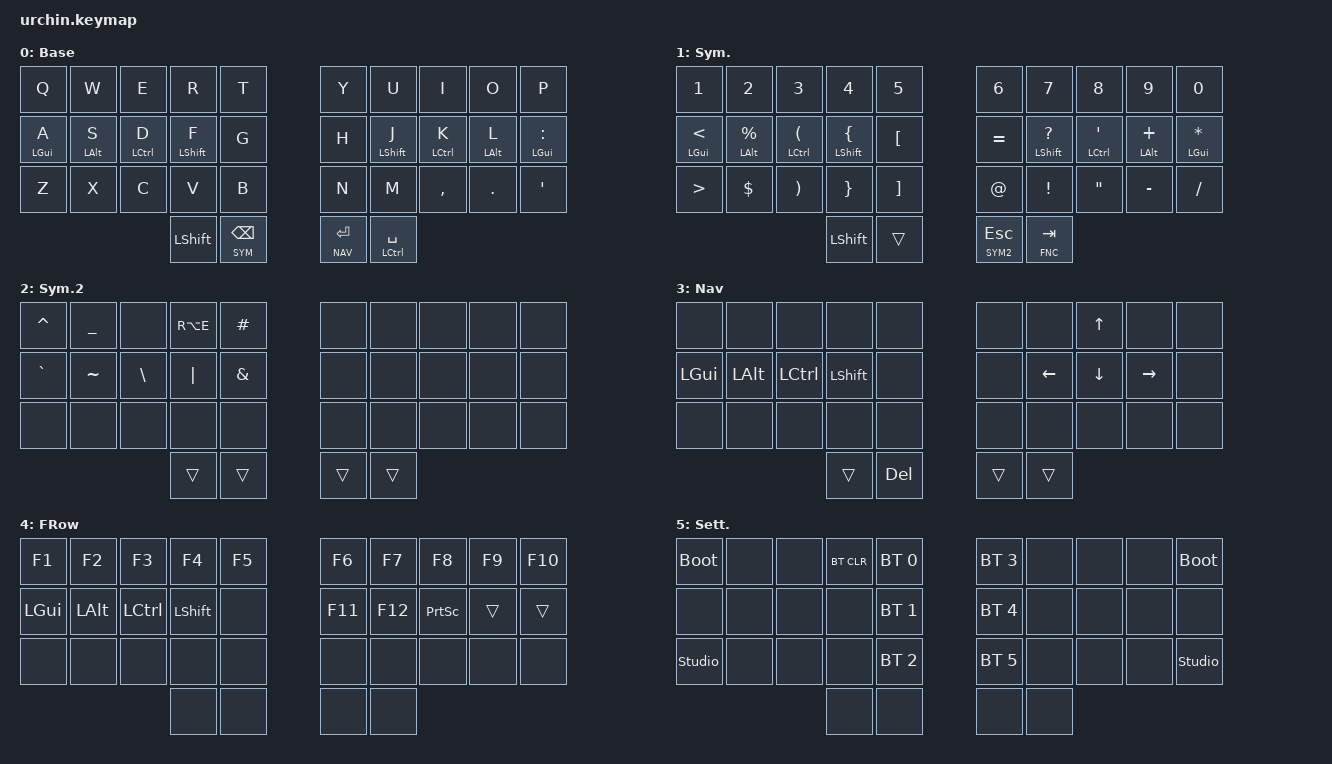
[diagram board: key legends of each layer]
/*
 * Copyright (c) 2020 duckyb
 *
 * SPDX-License-Identifier: MIT
 */

#include <behaviors.dtsi>
#include <dt-bindings/zmk/keys.h>
#include <dt-bindings/zmk/bt.h>
#include <dt-bindings/zmk/outputs.h>

// Layer definitions
#define BASE 0
#define SYM 1
#define SYM2 2
#define NAV 3
#define FNC 4 
#define SETTINGS 5
// -----------------

#define MY_EUR RA(E)             // € 

&sk {
	// don't release mods on other mods presses
	ignore-modifiers;
};

&mt {
    quick-tap-ms = <300>;
};

&lt {
    quick-tap-ms = <300>;
};

/ {
	behaviors {
                hml: home_row_mod_left {
                    compatible = "zmk,behavior-hold-tap";
                    #binding-cells = <2>;
                    flavor = "balanced";
                    require-prior-idle-ms = <150>;
                    tapping-term-ms = <280>;
                    quick-tap-ms = <175>;
                    bindings = <&kp>, <&kp>;
                    hold-trigger-key-positions = <5 6 7 8 9 15 16 17 18 19 25 26 27 28 29 32 33>; // List of keys on the right side of the keyboard
                    hold-trigger-on-release;
                };
                hmr: home_row_mod_right {
                    compatible = "zmk,behavior-hold-tap";
                    #binding-cells = <2>;
                    flavor = "balanced";
                    require-prior-idle-ms = <150>;
                    tapping-term-ms = <280>;
                    quick-tap-ms = <175>;
                    bindings = <&kp>, <&kp>;
                    hold-trigger-key-positions = <0 1 2 3 4 10 11 12 13 14 20 21 22 23 24 30 31>; // List of keys on the left side of the keyboard
                    hold-trigger-on-release;
                };
	};
      	combos {
		compatible = "zmk,combos";
		combo_settings {
			timeout-ms = <200>;
			key-positions = <30 31>;
			bindings = <&mo SETTINGS>;
		};
		combo_sym2 {
			timeout-ms = <200>;
			key-positions = <31 33>;
			bindings = <&mo SYM2>;
		};
	};

	keymap {
                compatible = "zmk,keymap";
		// Base alpha layer
		default_layer {
			label = "Base";
			bindings = <
			&kp  Q       &kp W       &kp E        &kp R         &kp T             &kp Y &kp U         &kp I        &kp O         &kp P 
                        &hml LGUI A  &hml LALT S &hml LCTRL D &hml LSHIFT F &kp G             &kp H &hmr LSHIFT J &hmr LCTRL K &hmr LALT L   &hmr LGUI COLON 
			&kp  Z       &kp X       &kp C        &kp V         &kp B             &kp N &kp M         &kp COMMA    &kp DOT       &kp SINGLE_QUOTE
					                      &kp LSHIFT    &lt SYM BSPC      &lt NAV ENTER &mt LCTRL SPACE
			>;
		};
                sym_layer {
                        label = "Sym.";
                        bindings = <
                        &kp N1        &kp N2           &kp N3           &kp N4           &kp N5           &kp N6    &kp N7            &kp N8         &kp N9         &kp N0
                        &hml LGUI LT  &hml LALT PRCNT  &hml LCTRL LPAR  &hml LSHIFT LBRC &kp LBKT         &kp EQUAL &hmr LSHIFT QMARK &hmr LCTRL SQT &hmr LALT PLUS &hmr LGUI ASTRK
                        &kp GT        &kp DLLR         &kp RPAR         &kp RBRC         &kp RBKT         &kp AT    &kp EXCL          &kp DQT         &kp MINUS      &kp FSLH
                                                                        &kp LSHIFT       &trans           &lt SYM2 ESC   &lt FNC TAB
                        >;
                };
                sym_2_layer {
			label = "Sym.2";
			bindings = <
			&kp CARET &kp UNDER &none      &kp MY_EUR &kp HASH         &none  &none &none &none &none 
			&kp GRAVE &kp TILDE &kp BSLH   &kp PIPE   &kp AMPS         &none  &none &none &none &none
			&none     &none     &none      &none      &none            &none  &none &none &none &none 
                                                       &trans     &trans           &trans &trans
			>;
		};
                nav_layer {
			label = "Nav";
			bindings = <
			&none    &none    &none      &none      &none          &none    &none    &kp UP   &none     &none 
	                &kp LGUI &kp LALT &kp LCTRL  &kp LSHIFT &none          &none    &kp LEFT &kp DOWN &kp RIGHT &none
			&none    &none    &none      &none      &none          &none    &none    &none    &none     &none
                                                     &trans     &kp DEL        &trans   &trans
			>;
		};
               	fnc_layer {
			label = "FRow";
			bindings = <
			&kp F1   &kp F2   &kp F3     &kp F4     &kp F5       &kp F6  &kp F7   &kp F8          &kp F9 &kp F10 
			&kp LGUI &kp LALT &kp LCTRL  &kp LSHIFT &none        &kp F11 &kp F12  &kp PRINTSCREEN &trans &trans
			&none    &none    &none      &none      &none	     &none   &none    &none           &none  &none 
						     &none      &none        &none   &none  
			>;
		};
                settings_layer {
                        label = "Sett.";
                        bindings = <
                        &bootloader    &none &none &bt BT_CLR &bt BT_SEL 0               &bt BT_SEL 3 &none &none &none &bootloader
                        &none          &none &none &none      &bt BT_SEL 1               &bt BT_SEL 4 &none &none &none &none
                        &studio_unlock &none &none &none      &bt BT_SEL 2               &bt BT_SEL 5 &none &none &none &studio_unlock
                                                   &none      &none                      &none        &none
                        >;
                };

	};
};
